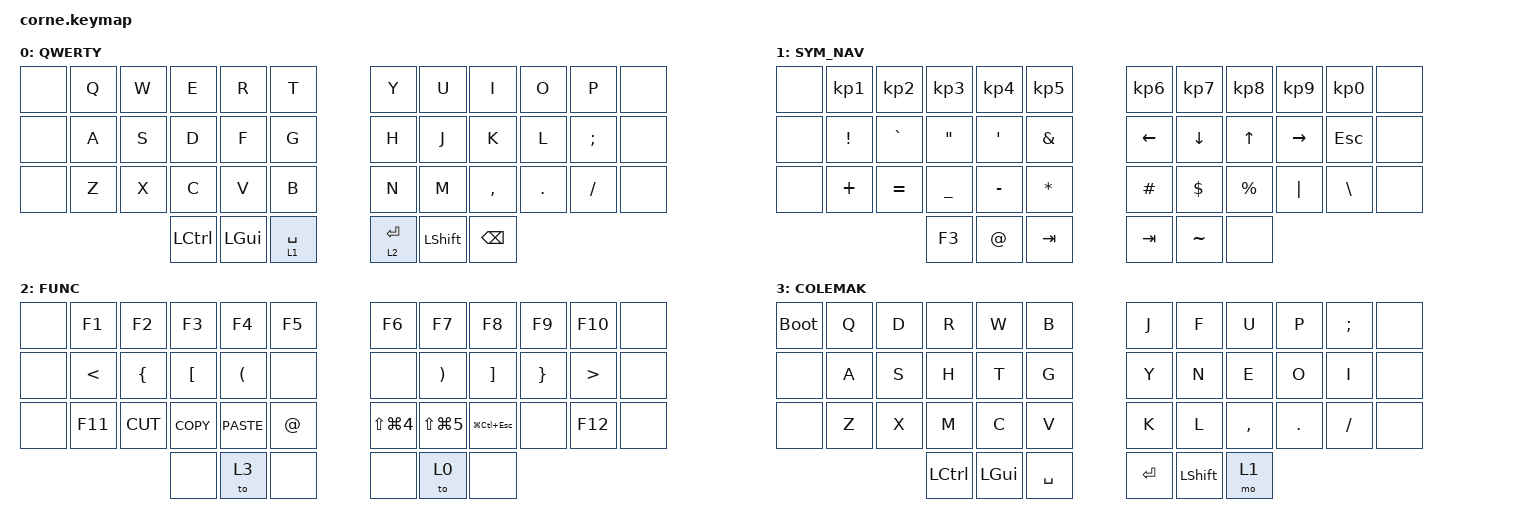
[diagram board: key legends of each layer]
/*
 * Corne (crkbd) ZMK keymap — 36-key (3x5+3)
 * Converted from QMK/Vial export "crkbd.layout.json"
 *
 * The official ZMK `corne` shield has a 42-key matrix (3x6+3). The outer
 * pinky positions exist in the matrix but have no switches on this board,
 * so they stay &none — do not delete them.
 *
 * Layers:
 *   0 QWERTY   base
 *   1 SYM_NAV  numbers / symbols / arrows   (hold the LEFT  SPACE thumb -> < 1)
 *   2 FUNC     F-keys / symbols / edit / mac shortcuts (hold RIGHT ENTER thumb -> < 2)
 *   3 COLEMAK  alternate base (jump in with &to 3; &bootloader sits top-left)
 *
 * MAC NOTE: K_CUT/K_COPY/K_PASTE use HID "Keyboard" usages that macOS often
 * ignores. If they don't work, swap them for &kp LG(X) / LG(C) / LG(V).
 */

#include <behaviors.dtsi>
#include <dt-bindings/zmk/keys.h>
#include <dt-bindings/zmk/bt.h>

/ {
    keymap {
        compatible = "zmk,keymap";

        qwerty_layer {
            display-name = "QWERTY";
            bindings = <
&none  &kp Q  &kp W  &kp E  &kp R  &kp T          &kp Y  &kp U  &kp I      &kp O    &kp P     &none
&none  &kp A  &kp S  &kp D  &kp F  &kp G          &kp H  &kp J  &kp K      &kp L    &kp SEMI  &none
&none  &kp Z  &kp X  &kp C  &kp V  &kp B          &kp N  &kp M  &kp COMMA  &kp DOT  &kp FSLH  &none
                  &kp LCTRL  &kp LGUI  &lt 1 SPACE     &lt 2 ENTER  &kp LSHFT  &kp BSPC
            >;
        };

        sym_nav_layer {
            display-name = "SYM_NAV";
            bindings = <
&none  &kp KP_N1  &kp KP_N2   &kp KP_N3   &kp KP_N4   &kp KP_N5      &kp KP_N6  &kp KP_N7  &kp KP_N8  &kp KP_N9   &kp KP_N0  &none
&none  &kp EXCL   &kp GRAVE   &kp DQT     &kp SQT     &kp AMPS       &kp LEFT   &kp DOWN   &kp UP     &kp RIGHT   &kp ESC    &none
&none  &kp PLUS   &kp EQUAL   &kp UNDER   &kp MINUS   &kp STAR       &kp HASH   &kp DLLR   &kp PRCNT  &kp PIPE    &kp BSLH   &none
                          &kp F3  &kp AT  &kp TAB         &kp TAB  &kp TILDE  &none
            >;
        };

        func_layer {
            display-name = "FUNC";
            bindings = <
&none  &kp F1   &kp F2     &kp F3      &kp F4       &kp F5      &kp F6           &kp F7           &kp F8           &kp F9   &kp F10  &none
&none  &kp LT   &kp LBRC   &kp LBKT    &kp LPAR     &none       &none            &kp RPAR         &kp RBKT         &kp RBRC &kp GT   &none
&none  &kp F11  &kp K_CUT  &kp K_COPY  &kp K_PASTE  &kp AT      &kp LS(LG(N4))   &kp LS(LG(N5))   &kp LG(LC(ESC))  &none    &kp F12  &none
                            &none  &to 3  &none           &none  &to 0  &none
            >;
        };

        colemak_layer {
            display-name = "COLEMAK";
            bindings = <
&bootloader  &kp Q  &kp D  &kp R  &kp W  &kp B          &kp J  &kp F  &kp U      &kp P    &kp SEMI  &none
&none        &kp A  &kp S  &kp H  &kp T  &kp G          &kp Y  &kp N  &kp E      &kp O    &kp I     &none
&none        &kp Z  &kp X  &kp M  &kp C  &kp V          &kp K  &kp L  &kp COMMA  &kp DOT  &kp FSLH  &none
                  &kp LCTRL  &kp LGUI  &kp SPACE       &kp ENTER  &kp LSHFT  &mo 1
            >;
        };
    };
};
